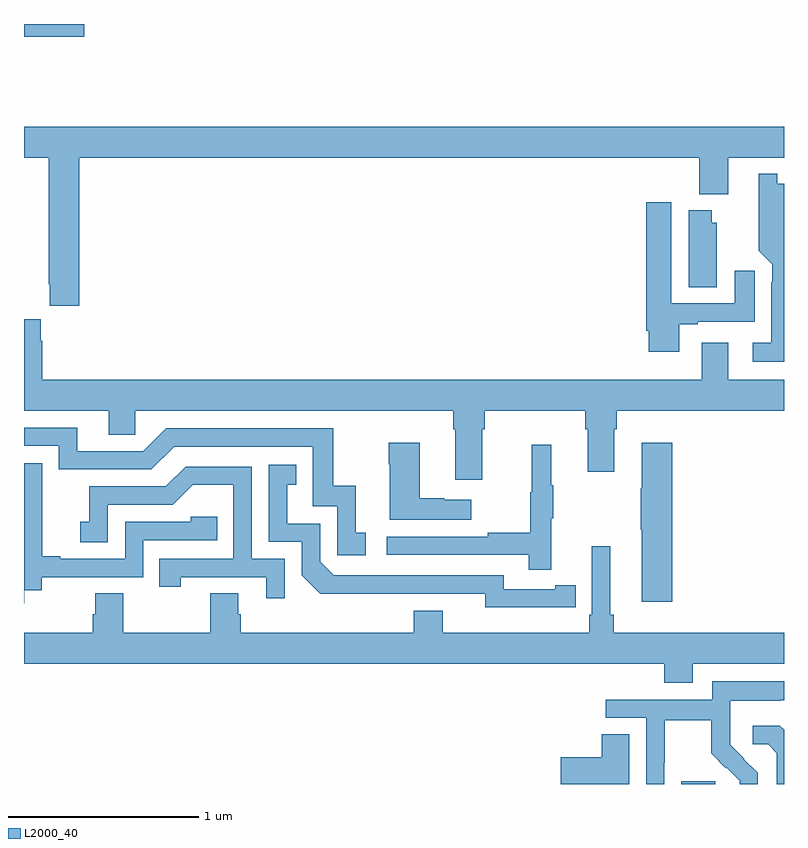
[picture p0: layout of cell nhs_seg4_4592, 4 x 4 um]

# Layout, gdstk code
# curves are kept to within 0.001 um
import gdstk
lib = gdstk.Library(unit=1e-6, precision=1e-09)
def R(c, l, rs):  # rectangles x0, y0, x1, y1
    for r in rs: c.add(gdstk.rectangle(r[:2], r[2:], *l))
def P(c, l, *ps):  # polygons
    for p in ps: c.add(gdstk.Polygon(p, *l))
L2000_40 = (2000, 40)

nhs_seg4_4592 = lib.new_cell('nhs_seg4_4592')
R(nhs_seg4_4592, L2000_40, [(362.459,750.9,362.638,750.915), (359,754.834,359.317,754.9)])
P(nhs_seg4_4592, L2000_40, [(359.291,754.196),(362.555,754.196),(362.555,754.004),(362.707,754.004),(362.707,754.196),(363,754.196),(363,754.36),(359,754.36),(359,754.196),(359.131,754.196),(359.131,753.529),(359.135,753.529),(359.135,753.417),(359.291,753.417)],
  [(363,754.06),(362.965,754.06),(362.965,754.111),(362.868,754.111),(362.867,753.706),(362.937,753.636),(362.937,753.542),(362.933,753.542),(362.933,753.223),(362.835,753.223),(362.835,753.122),(363,753.122)],
  [(362.449,753.321),(362.545,753.321),(362.545,753.333),(362.845,753.333),(362.845,753.601),(362.741,753.601),(362.741,753.429),(362.407,753.429),(362.407,753.961),(362.276,753.961),(362.276,753.286),(362.288,753.286),(362.288,753.174),(362.449,753.174)],
  [(362.647,753.855),(362.62,753.855),(362.62,753.919),(362.498,753.919),(362.498,753.514),(362.647,753.514)],
  [(361.411,752.768),(361.424,752.768),(361.424,752.864),(361.955,752.864),(361.955,752.768),(361.967,752.768),(361.967,752.544),(362.107,752.544),(362.107,752.768),(362.12,752.768),(362.12,752.864),(363,752.864),(363,753.028),(362.707,753.028),(362.707,753.223),(362.567,753.223),(362.567,753.028),(359.096,753.028),(359.096,753.233),(359.089,753.233),(359.089,753.346),(359,753.346),(359,752.864),(359.447,752.864),(359.447,752.737),(359.586,752.737),(359.586,752.864),(361.259,752.864),(361.259,752.768),(361.271,752.768),(361.271,752.502),(361.411,752.502)],
  [(360.799,752.223),(360.746,752.223),(360.746,752.47),(360.628,752.47),(360.628,752.772),(359.748,752.772),(359.628,752.652),(359.281,752.652),(359.281,752.775),(359,752.775),(359,752.679),(359.184,752.679),(359.184,752.556),(359.67,752.556),(359.79,752.676),(360.519,752.676),(360.519,752.361),(360.648,752.361),(360.648,752.103),(360.799,752.103)],
  [(361.354,752.395),(361.211,752.395),(361.211,752.405),(361.084,752.405),(361.084,752.695),(360.919,752.695),(360.919,752.582),(360.926,752.582),(360.926,752.291),(361.354,752.291)],
  [(362.411,752.695),(362.252,752.695),(362.252,752.456),(362.245,752.456),(362.245,752.239),(362.252,752.239),(362.252,751.86),(362.411,751.86)],
  [(361.775,752.299),(361.786,752.299),(361.786,752.473),(361.775,752.473),(361.775,752.686),(361.672,752.686),(361.672,752.436),(361.665,752.436),(361.665,752.222),(361.441,752.222),(361.441,752.202),(360.909,752.202),(360.909,752.106),(361.657,752.106),(361.657,752.028),(361.775,752.028)],
  [(359.002,751.921),(359.094,751.921),(359.094,751.989),(359.628,751.989),(359.628,752.184),(360.017,752.184),(360.017,752.307),(359.877,752.307),(359.877,752.28),(359.532,752.28),(359.532,752.085),(359.191,752.085),(359.191,752.098),(359.096,752.098),(359.096,752.381),(359.097,752.381),(359.097,752.587),(359,752.587),(359,751.851),(359.002,751.851)],
  [(361.796,751.83),(361.904,751.83),(361.904,751.946),(361.796,751.946),(361.796,751.926),(361.524,751.926),(361.524,751.998),(360.63,751.998),(360.558,752.07),(360.558,752.271),(360.385,752.271),(360.385,752.475),(360.434,752.475),(360.434,752.581),(360.288,752.581),(360.288,752.175),(360.462,752.175),(360.462,751.998),(360.56,751.901),(361.428,751.902),(361.428,751.829)],
  [(360.372,752.085),(360.198,752.085),(360.198,752.571),(359.852,752.571),(359.747,752.466),(359.344,752.466),(359.344,752.281),(359.295,752.281),(359.295,752.172),(359.442,752.172),(359.442,752.37),(359.784,752.37),(359.888,752.474),(360.102,752.474),(360.102,752.085),(359.713,752.085),(359.713,751.938),(359.824,751.938),(359.824,751.989),(360.275,751.989),(360.275,751.878),(360.372,751.878)],
  [(362.521,751.532),(363,751.532),(363,751.696),(362.105,751.696),(362.105,751.792),(362.086,751.792),(362.086,752.152),(361.989,752.152),(361.989,751.792),(361.976,751.792),(361.976,751.696),(361.204,751.696),(361.204,751.813),(361.052,751.813),(361.052,751.696),(360.14,751.696),(360.14,751.794),(360.127,751.794),(360.127,751.904),(359.98,751.904),(359.98,751.696),(359.523,751.696),(359.523,751.904),(359.375,751.904),(359.375,751.794),(359.363,751.794),(359.363,751.696),(359,751.696),(359,751.532),(362.369,751.532),(362.369,751.433),(362.521,751.433)],
  [(362.37,751.012),(362.373,751.012),(362.373,751.236),(362.617,751.236),(362.617,751.061),(362.694,750.984),(362.697,750.987),(362.768,750.917),(362.768,750.9),(362.862,750.9),(362.862,750.958),(362.716,751.106),(362.716,751.203),(362.718,751.203),(362.718,751.337),(362.981,751.337),(362.981,751.341),(363,751.341),(363,751.441),(362.622,751.441),(362.622,751.344),(362.061,751.344),(362.061,751.248),(362.274,751.248),(362.274,750.9),(362.37,750.9)],
  [(363,751.185),(362.978,751.207),(362.835,751.207),(362.835,751.11),(362.916,751.11),(362.963,751.063),(362.963,750.9),(363,750.9)],
  [(362.185,751.163),(362.042,751.163),(362.042,751.04),(361.824,751.04),(361.824,750.9),(362.185,750.9)])

lib.write_gds('nhs_seg4_4592.gds')
